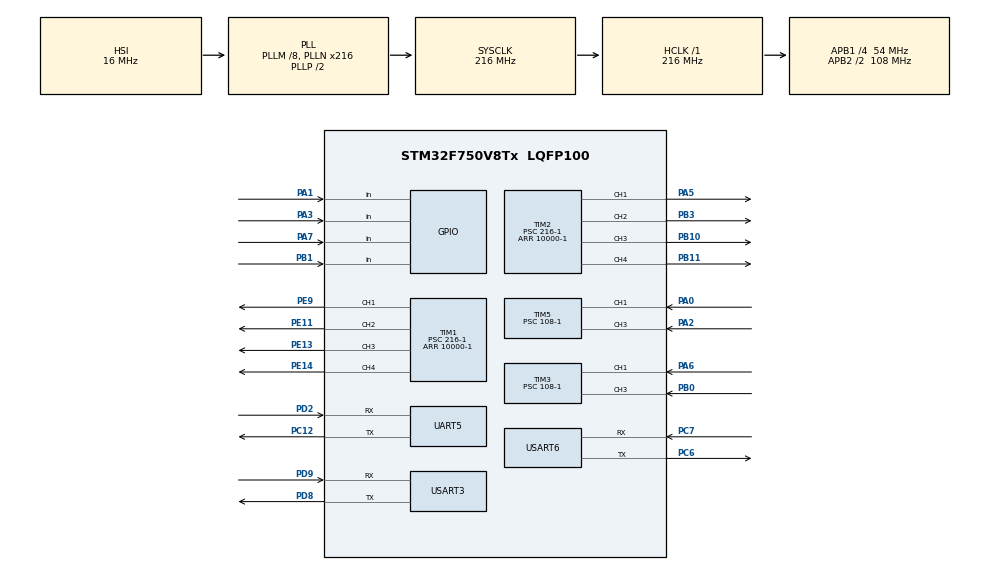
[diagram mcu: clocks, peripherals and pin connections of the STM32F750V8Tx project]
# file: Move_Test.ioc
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Mcu.Family=STM32F7
Mcu.Name=STM32F750V8Tx
Mcu.Package=LQFP100
NVIC.PriorityGroup=NVIC_PRIORITYGROUP_4
NVIC.TIM3_IRQn=true\:0\:0\:false\:false\:true\:true\:true\:true
NVIC.TIM5_IRQn=true\:0\:0\:false\:false\:true\:true\:true\:true
NVIC.TIM6_DAC_IRQn=true\:0\:0\:true\:false\:true\:true\:true\:true
NVIC.UART5_IRQn=true\:1\:0\:true\:false\:true\:true\:true\:true
PA0/WKUP.Signal=S_TIM5_CH1
PA1.GPIO_PuPd=GPIO_PULLDOWN
PA1.Signal=GPIO_Input
PA2.Signal=S_TIM5_CH3
PA3.GPIO_PuPd=GPIO_PULLDOWN
PA3.Signal=GPIO_Input
PA5.Signal=S_TIM2_CH1_ETR
PA6.Signal=S_TIM3_CH1
PA7.GPIO_PuPd=GPIO_PULLDOWN
PA7.Signal=GPIO_Input
PB0.Signal=S_TIM3_CH3
PB1.GPIO_PuPd=GPIO_PULLDOWN
PB1.Signal=GPIO_Input
PB10.Signal=S_TIM2_CH3
PB11.Signal=S_TIM2_CH4
PB3.Signal=S_TIM2_CH2
PC12.Mode=Asynchronous
PC12.Signal=UART5_TX
PC6.Mode=Asynchronous
PC6.Signal=USART6_TX
PC7.Mode=Asynchronous
PC7.Signal=USART6_RX
PD2.Mode=Asynchronous
PD2.Signal=UART5_RX
PD8.Mode=Asynchronous
PD8.Signal=USART3_TX
PD9.Mode=Asynchronous
PD9.Signal=USART3_RX
PE11.Signal=S_TIM1_CH2
PE13.Signal=S_TIM1_CH3
PE14.Signal=S_TIM1_CH4
PE9.Signal=S_TIM1_CH1
PH0/OSC_IN.Mode=HSE-External-Oscillator
PH0/OSC_IN.Signal=RCC_OSC_IN
PH1/OSC_OUT.Mode=HSE-External-Oscillator
PH1/OSC_OUT.Signal=RCC_OSC_OUT
ProjectManager.HeapSize=0x200
ProjectManager.StackSize=0x400
ProjectManager.TargetToolchain=MDK-ARM V5.32
RCC.AHBFreq_Value=216000000
RCC.APB1CLKDivider=RCC_HCLK_DIV4
RCC.APB1Freq_Value=54000000
RCC.APB1TimFreq_Value=108000000
RCC.APB2CLKDivider=RCC_HCLK_DIV2
RCC.APB2Freq_Value=108000000
RCC.APB2TimFreq_Value=216000000
RCC.CortexFreq_Value=216000000
RCC.HCLKFreq_Value=216000000
RCC.HSE_VALUE=25000000
RCC.HSI_VALUE=16000000
RCC.LSE_VALUE=32768
RCC.PLLM=8
RCC.PLLN=216
RCC.SYSCLKFreq_VALUE=216000000
RCC.SYSCLKSource=RCC_SYSCLKSOURCE_PLLCLK
RCC.USBFreq_Value=216000000
RCC.VCOOutputFreq_Value=432000000
SH.S_TIM1_CH1.0=TIM1_CH1,PWM Generation1 CH1
SH.S_TIM1_CH2.0=TIM1_CH2,PWM Generation2 CH2
SH.S_TIM1_CH3.0=TIM1_CH3,PWM Generation3 CH3
SH.S_TIM1_CH4.0=TIM1_CH4,PWM Generation4 CH4
SH.S_TIM2_CH1_ETR.0=TIM2_CH1,PWM Generation1 CH1
SH.S_TIM2_CH2.0=TIM2_CH2,PWM Generation2 CH2
SH.S_TIM2_CH3.0=TIM2_CH3,PWM Generation3 CH3
SH.S_TIM2_CH4.0=TIM2_CH4,PWM Generation4 CH4
SH.S_TIM3_CH1.0=TIM3_CH1,Input_Capture1_from_TI1
SH.S_TIM3_CH3.0=TIM3_CH3,Input_Capture3_from_TI3
SH.S_TIM5_CH1.0=TIM5_CH1,Input_Capture1_from_TI1
SH.S_TIM5_CH3.0=TIM5_CH3,Input_Capture3_from_TI3
TIM1.Channel-PWM\ Generation1\ CH1=TIM_CHANNEL_1
TIM1.Channel-PWM\ Generation2\ CH2=TIM_CHANNEL_2
TIM1.Channel-PWM\ Generation3\ CH3=TIM_CHANNEL_3
TIM1.Channel-PWM\ Generation4\ CH4=TIM_CHANNEL_4
TIM1.Period=10000-1
TIM1.Prescaler=216-1
TIM2.Channel-PWM\ Generation1\ CH1=TIM_CHANNEL_1
TIM2.Channel-PWM\ Generation2\ CH2=TIM_CHANNEL_2
TIM2.Channel-PWM\ Generation3\ CH3=TIM_CHANNEL_3
TIM2.Channel-PWM\ Generation4\ CH4=TIM_CHANNEL_4
TIM2.Period=10000-1
TIM2.Prescaler=216-1
TIM3.Channel-Input_Capture1_from_TI1=TIM_CHANNEL_1
TIM3.Channel-Input_Capture3_from_TI3=TIM_CHANNEL_3
TIM3.Prescaler=108-1
TIM5.Channel-Input_Capture1_from_TI1=TIM_CHANNEL_1
TIM5.Channel-Input_Capture3_from_TI3=TIM_CHANNEL_3
TIM5.Period=65535
TIM5.Prescaler=108-1
TIM6.AutoReloadPreload=TIM_AUTORELOAD_PRELOAD_ENABLE
TIM6.Period=10000
TIM6.Prescaler=108-1
USART3.VirtualMode-Asynchronous=VM_ASYNC
USART6.VirtualMode=VM_ASYNC
VP_TIM6_VS_ClockSourceINT.Mode=Enable_Timer
board=custom

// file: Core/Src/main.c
/* USER CODE BEGIN Header */
/**
  ******************************************************************************
  * @file           : main.c
  * @brief          : Main program body
  ******************************************************************************
  * @attention
  *
  * Copyright (c) 2023 STMicroelectronics.
  * All rights reserved.
  *
  * This software is licensed under terms that can be found in the LICENSE file
  * in the root directory of this software component.
  * If no LICENSE file comes with this software, it is provided AS-IS.
  *
  ******************************************************************************
  */
/* USER CODE END Header */
#include "main.h"
#include "tim.h"
#include "usart.h"
#include "gpio.h"

/* USER CODE BEGIN Includes */
#include <stdio.h>
#include "wheel_config.h"
#include "wheel.h"
#include "wheel_task.h"
#include "imu.h"
#include "Serial.h"
/* USER CODE END Includes */

/* USER CODE BEGIN PV */
extern motor_t motor1;
extern motor_t motor2;
extern motor_t motor3;
extern motor_t motor4;

extern	pid_data_t motor1_pid_data;
extern	pid_data_t motor2_pid_data;
extern	pid_data_t motor3_pid_data;
extern	pid_data_t motor4_pid_data;

uint8_t Senddata = 0;

/* USER CODE END PV */

void SystemClock_Config(void);

int main(void)
{

  /* MCU Configuration--------------------------------------------------------*/

  /* Reset of all peripherals, Initializes the Flash interface and the Systick. */
  HAL_Init();

  /* Configure the system clock */
  SystemClock_Config();

  /* Initialize all configured peripherals */
  MX_GPIO_Init();
  MX_TIM1_Init();
  MX_TIM2_Init();
  MX_TIM3_Init();
  MX_TIM5_Init();
  MX_TIM6_Init();
  MX_USART3_UART_Init();
  MX_UART5_Init();
  MX_USART6_UART_Init();
  /* USER CODE BEGIN 2 */
//  motor_pid_data_init(&motor1_pid_data);
//  motor_pid_data_init(&motor2_pid_data);
//  motor_pid_data_init(&motor3_pid_data);
//  motor_pid_data_init(&motor4_pid_data);
//
//  motor1_Enable(&motor1);
//  motor2_Enable(&motor2);
//  motor3_Enable(&motor3);
//  motor4_Enable(&motor4);
//  set_chassis_speed (3,0,0);
  receive_imu901_Init(&attitude);
  Senddata = 0xFF;
  HAL_UART_Transmit (&huart5,&Senddata,1,0xFFFF);
  Senddata = 0xAA;
  HAL_UART_Transmit (&huart5,&Senddata,1,0xFFFF);
  Senddata = 0x63;
  HAL_UART_Transmit (&huart5,&Senddata,1,0xFFFF);
  /* USER CODE END 2 */

  /* Infinite loop */
  /* USER CODE BEGIN WHILE */
  while (1)
  {

//	  chassis_synthetic_control();
//	  HAL_Delay (50);
    /* USER CODE END WHILE */

  }
}

void SystemClock_Config(void)
{
  RCC_OscInitTypeDef RCC_OscInitStruct = {0};
  RCC_ClkInitTypeDef RCC_ClkInitStruct = {0};

  /** Configure the main internal regulator output voltage
  */
  __HAL_RCC_PWR_CLK_ENABLE();
  __HAL_PWR_VOLTAGESCALING_CONFIG(PWR_REGULATOR_VOLTAGE_SCALE1);

  /** Initializes the RCC Oscillators according to the specified parameters
  * in the RCC_OscInitTypeDef structure.
  */
  RCC_OscInitStruct.OscillatorType = RCC_OSCILLATORTYPE_HSI;
  RCC_OscInitStruct.HSIState = RCC_HSI_ON;
  RCC_OscInitStruct.HSICalibrationValue = RCC_HSICALIBRATION_DEFAULT;
  RCC_OscInitStruct.PLL.PLLState = RCC_PLL_ON;
  RCC_OscInitStruct.PLL.PLLSource = RCC_PLLSOURCE_HSI;
  RCC_OscInitStruct.PLL.PLLM = 8;
  RCC_OscInitStruct.PLL.PLLN = 216;
  RCC_OscInitStruct.PLL.PLLP = RCC_PLLP_DIV2;
  RCC_OscInitStruct.PLL.PLLQ = 2;
  if (HAL_RCC_OscConfig(&RCC_OscInitStruct) != HAL_OK)
  {
    Error_Handler();
  }

  /** Activate the Over-Drive mode
  */
  if (HAL_PWREx_EnableOverDrive() != HAL_OK)
  {
    Error_Handler();
  }

  /** Initializes the CPU, AHB and APB buses clocks
  */
  RCC_ClkInitStruct.ClockType = RCC_CLOCKTYPE_HCLK|RCC_CLOCKTYPE_SYSCLK
                              |RCC_CLOCKTYPE_PCLK1|RCC_CLOCKTYPE_PCLK2;
  RCC_ClkInitStruct.SYSCLKSource = RCC_SYSCLKSOURCE_PLLCLK;
  RCC_ClkInitStruct.AHBCLKDivider = RCC_SYSCLK_DIV1;
  RCC_ClkInitStruct.APB1CLKDivider = RCC_HCLK_DIV4;
  RCC_ClkInitStruct.APB2CLKDivider = RCC_HCLK_DIV2;

  if (HAL_RCC_ClockConfig(&RCC_ClkInitStruct, FLASH_LATENCY_7) != HAL_OK)
  {
    Error_Handler();
  }
}

/* USER CODE BEGIN 4 */

//void HAL_TIM_IC_CaptureCallback(TIM_HandleTypeDef *htim)
//{
//	if(htim->Instance == TIM6)
//	{
//		chassis_synthetic_control();
//	}
//}

/* USER CODE END 4 */

void Error_Handler(void)
{
  __disable_irq();
  while (1)
  {
  }
}
